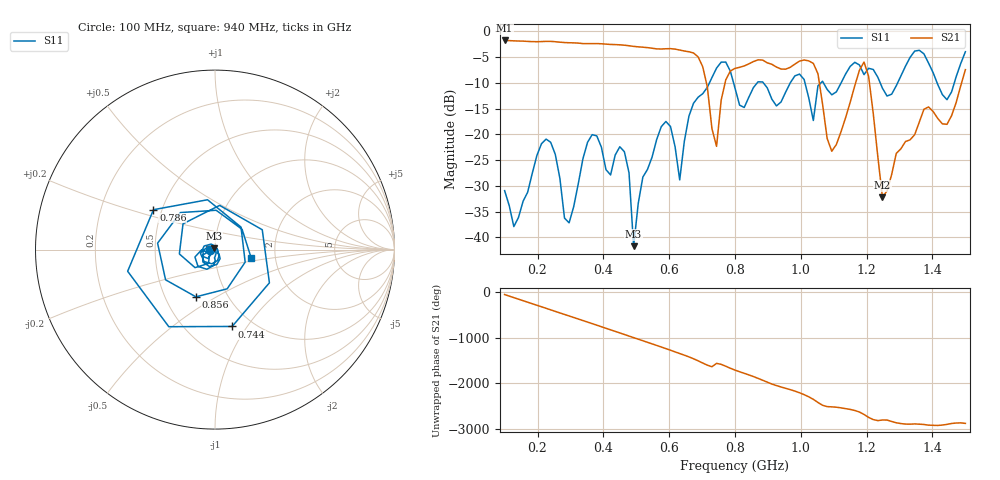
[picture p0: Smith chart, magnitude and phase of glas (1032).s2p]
! NanoVNA-App
! Date: 2025-09-25 16:03:30
! Start: 100MHz Stop: 1,5GHz Points: 101
! S-Parameter data: F S11 S21 S12 S22
# Hz S RI R 50
!  Frequency  S11_Real  S11_Imag  S21_Real  S21_Imag  S12_Real  S12_Imag  S22_Real  S22_Imag
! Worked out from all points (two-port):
!   101 points, 100 MHz to 1.5 GHz, reference 50 ohm
!   highest |S21| = -1.80 dB at 100 MHz (marker M1); lowest = -32.2 dB at 1.248 GHz (marker M2)
!   |S21| within 3 dB of the highest: start of sweep to 684.4 MHz
!   lowest |S11| = -41.7 dB at 492 MHz (marker M3), VSWR 1.02, Z = 49.5 + j0.652 ohm
!   |S11| at or under -10 dB: start of sweep to 722.5 MHz; 795.6 MHz to 867.8 MHz (72.2 MHz wide, 8.68 % of centre); 885.9 MHz to 968 MHz (82.17 MHz wide, 8.86 % of centre) (the widest 3 of 7)
!   S12 and S22 are empty: the file has one direction only
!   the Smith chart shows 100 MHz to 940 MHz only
!   S11 on the Smith chart (normalised r, x): 100 MHz: 0.94, -0.01; 744 MHz: 0.81, -0.86; 786 MHz: 0.45, +0.24; 856 MHz: 0.71, -0.41; 940 MHz: 1.50, -0.14
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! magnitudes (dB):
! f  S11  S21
! 100 MHz  -30.9  -1.8
! 128 MHz  -37.9  -1.9
! 226 MHz  -20.9  -2.0
! 296 MHz  -37.2  -2.2
! 338 MHz  -24.7  -2.4
! 464 MHz  -23.4  -2.7
! 492 MHz  -41.7  -2.9
! 576 MHz  -18.5  -3.5
! 632 MHz  -28.8  -3.7
! 702 MHz  -12.1  -6.9
! 744 MHz  -7.2  -22.3
! 786 MHz  -7.8  -7.7
! 800 MHz  -11.0  -7.2
! 856 MHz  -10.9  -5.9
! 940 MHz  -13.7  -7.3
! 996 MHz  -8.3  -5.8
! 1.038 GHz  -17.3  -6.2
! 1.094 GHz  -12.3  -23.3
! 1.192 GHz  -8.4  -6.0
! 1.248 GHz  -11.1  -32.2
! 1.276 GHz  -12.2  -27.8
! 1.5 GHz  -4.0  -7.5
